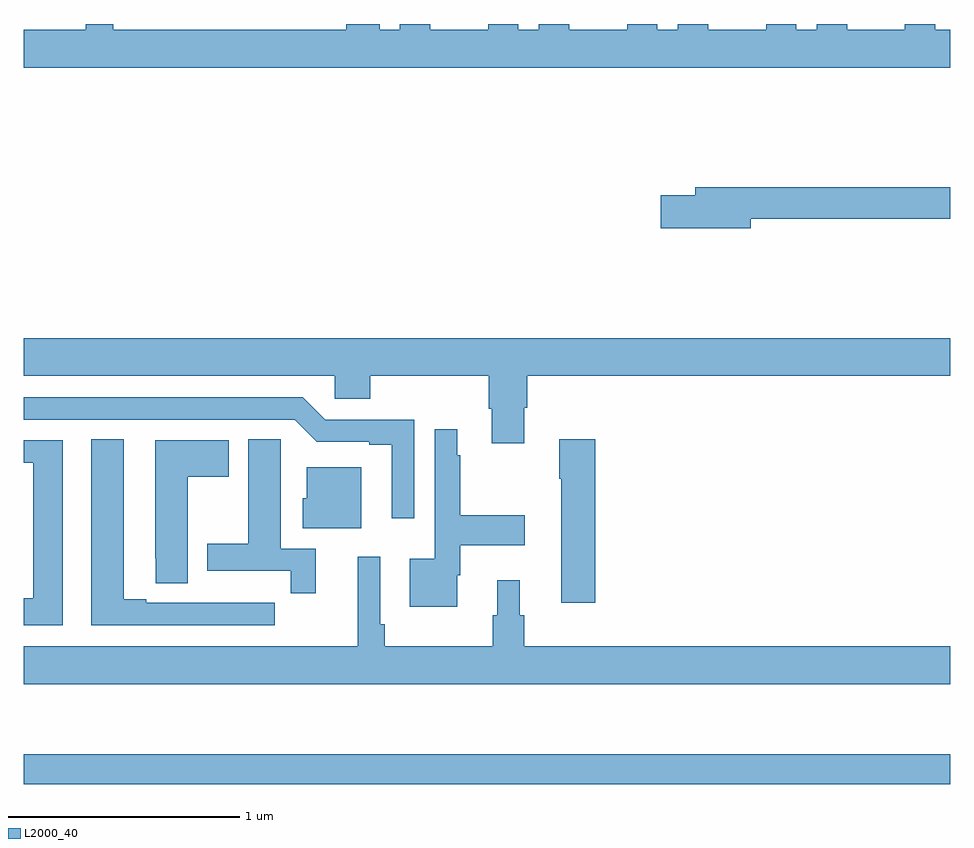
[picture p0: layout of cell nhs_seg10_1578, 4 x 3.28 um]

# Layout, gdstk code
import gdstk
lib = gdstk.Library(unit=1e-6, precision=1e-09)
def R(c, l, rs):  # rectangles x0, y0, x1, y1
    for r in rs: c.add(gdstk.rectangle(r[:2], r[2:], *l))
def P(c, l, *ps):  # polygons
    for p in ps: c.add(gdstk.Polygon(p, *l))
L2000_40 = (2000, 40)

nhs_seg10_1578 = lib.new_cell('nhs_seg10_1578')
R(nhs_seg10_1578, L2000_40, [(193,1301.218,197,1301.347)])
P(nhs_seg10_1578, L2000_40, [(195.824,1304.5),(195.824,1304.476),(195.736,1304.476),(195.736,1304.5),(195.605,1304.5),(195.605,1304.476),(195.355,1304.476),(195.355,1304.5),(195.224,1304.5),(195.224,1304.476),(195.136,1304.476),(195.136,1304.5),(195.005,1304.5),(195.005,1304.476),(194.755,1304.476),(194.755,1304.5),(194.624,1304.5),(194.624,1304.476),(194.536,1304.476),(194.536,1304.5),(194.393,1304.5),(194.393,1304.476),(193.385,1304.476),(193.385,1304.5),(193.267,1304.5),(193.267,1304.476),(193,1304.476),(193,1304.312),(197,1304.312),(197,1304.476),(196.936,1304.476),(196.936,1304.5),(196.805,1304.5),(196.805,1304.476),(196.555,1304.476),(196.555,1304.5),(196.424,1304.5),(196.424,1304.476),(196.336,1304.476),(196.336,1304.5),(196.205,1304.5),(196.205,1304.476),(195.955,1304.476),(195.955,1304.5)],
  [(196.138,1303.66),(197,1303.66),(197,1303.796),(195.899,1303.796),(195.899,1303.76),(195.75,1303.76),(195.75,1303.618),(196.138,1303.618)],
  [(193,1302.98),(194.343,1302.98),(194.343,1302.882),(194.495,1302.882),(194.495,1302.98),(195.008,1302.98),(195.008,1302.838),(195.02,1302.838),(195.02,1302.69),(195.16,1302.69),(195.16,1302.843),(195.173,1302.843),(195.173,1302.98),(197,1302.98),(197,1303.144),(193,1303.144)],
  [(194.685,1302.792),(194.301,1302.792),(194.205,1302.888),(193,1302.888),(193,1302.792),(194.169,1302.792),(194.265,1302.696),(194.492,1302.696),(194.492,1302.684),(194.588,1302.684),(194.588,1302.366),(194.685,1302.366)],
  [(194.872,1302.12),(194.884,1302.12),(194.884,1302.248),(195.163,1302.248),(195.163,1302.378),(194.884,1302.378),(194.884,1302.638),(194.872,1302.638),(194.872,1302.751),(194.775,1302.751),(194.775,1302.19),(194.666,1302.19),(194.666,1301.984),(194.872,1301.984)],
  [(194.261,1302.234),(194.11,1302.234),(194.11,1302.596),(194.109,1302.596),(194.109,1302.707),(193.97,1302.707),(193.97,1302.255),(193.793,1302.255),(193.793,1302.138),(194.152,1302.138),(194.152,1302.042),(194.261,1302.042)],
  [(194.083,1302),(193.97,1302),(193.97,1302.001),(193.804,1302.001),(193.804,1302),(193.528,1302),(193.528,1302.015),(193.432,1302.015),(193.432,1302.707),(193.292,1302.707),(193.292,1301.904),(194.083,1301.904)],
  [(195.467,1302.706),(195.313,1302.706),(195.313,1302.536),(195.32,1302.536),(195.32,1302),(195.467,1302)],
  [(193.708,1302.544),(193.885,1302.544),(193.885,1302.703),(193.568,1302.703),(193.568,1302.193),(193.569,1302.193),(193.569,1302.085),(193.708,1302.085)],
  [(193.168,1302.702),(193,1302.702),(193,1302.606),(193.04,1302.606),(193.04,1302.02),(193,1302.02),(193,1301.904),(193.168,1301.904)],
  [(194.458,1302.586),(194.222,1302.586),(194.222,1302.453),(194.204,1302.453),(194.204,1302.323),(194.458,1302.323)],
  [(197,1301.812),(195.161,1301.812),(195.161,1301.946),(195.142,1301.946),(195.142,1302.097),(195.044,1302.097),(195.044,1301.946),(195.025,1301.946),(195.025,1301.812),(194.558,1301.812),(194.558,1301.908),(194.538,1301.908),(194.538,1302.199),(194.441,1302.199),(194.441,1301.812),(193,1301.812),(193,1301.648),(197,1301.648)])

lib.write_gds('nhs_seg10_1578.gds')
